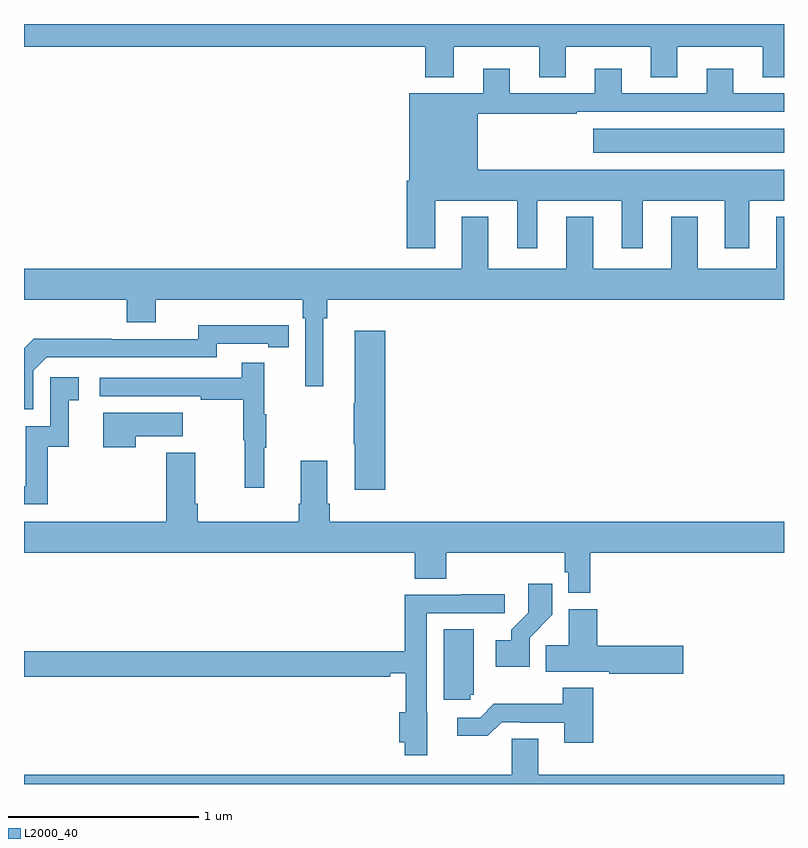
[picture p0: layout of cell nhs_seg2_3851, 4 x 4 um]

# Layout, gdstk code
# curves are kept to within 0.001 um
import gdstk
lib = gdstk.Library(unit=1e-6, precision=1e-09)
def R(c, l, rs):  # rectangles x0, y0, x1, y1
    for r in rs: c.add(gdstk.rectangle(r[:2], r[2:], *l))
def P(c, l, *ps):  # polygons
    for p in ps: c.add(gdstk.Polygon(p, *l))
L2000_40 = (2000, 40)

nhs_seg2_3851 = lib.new_cell('nhs_seg2_3851')
R(nhs_seg2_3851, L2000_40, [(317.997,603.122,319,603.25)])
P(nhs_seg2_3851, L2000_40, [(317.851,603.68),(318.299,603.68),(318.299,603.52),(318.439,603.52),(318.439,603.68),(318.887,603.68),(318.887,603.52),(319,603.52),(319,603.8),(315,603.8),(315,603.68),(317.111,603.68),(317.111,603.521),(317.263,603.521),(317.263,603.68),(317.711,603.68),(317.711,603.52),(317.851,603.52)],
  [(317.164,602.87),(317.597,602.87),(317.597,602.619),(317.701,602.619),(317.701,602.87),(318.146,602.87),(318.146,602.619),(318.256,602.619),(318.256,602.87),(318.689,602.87),(318.689,602.619),(318.817,602.619),(318.817,602.87),(319,602.87),(319,603.034),(317.389,603.034),(317.389,603.327),(317.909,603.327),(317.909,603.339),(319,603.339),(319,603.435),(318.733,603.435),(318.733,603.565),(318.593,603.565),(318.593,603.435),(318.145,603.435),(318.145,603.565),(318.005,603.565),(318.005,603.435),(317.557,603.435),(317.557,603.565),(317.417,603.565),(317.417,603.436),(317.027,603.436),(317.027,602.974),(317.015,602.974),(317.015,602.619),(317.164,602.619)],
  [(316.576,602.252),(316.595,602.252),(316.595,602.348),(319,602.348),(319,602.785),(318.959,602.785),(318.959,602.512),(318.547,602.512),(318.547,602.785),(318.407,602.785),(318.407,602.512),(317.995,602.512),(317.995,602.785),(317.855,602.785),(317.855,602.512),(317.443,602.512),(317.443,602.785),(317.303,602.785),(317.303,602.512),(315,602.512),(315,602.348),(315.542,602.348),(315.542,602.231),(315.694,602.231),(315.694,602.348),(316.466,602.348),(316.466,602.252),(316.479,602.252),(316.479,601.893),(316.576,601.893)],
  [(315.048,601.974),(315.12,602.046),(316.014,602.046),(316.014,602.118),(316.286,602.118),(316.286,602.098),(316.394,602.098),(316.394,602.214),(315.918,602.215),(315.918,602.142),(315.458,602.142),(315.458,602.144),(315.05,602.144),(315,602.094),(315,601.773),(315.048,601.773)],
  [(316.901,602.185),(316.742,602.185),(316.742,601.805),(316.735,601.805),(316.735,601.588),(316.742,601.588),(316.742,601.35),(316.901,601.35)],
  [(316.265,601.571),(316.276,601.571),(316.276,601.745),(316.265,601.745),(316.265,602.017),(316.147,602.017),(316.147,601.938),(315.399,601.938),(315.399,601.842),(315.931,601.842),(315.931,601.822),(316.155,601.822),(316.155,601.608),(316.162,601.608),(316.162,601.359),(316.265,601.359)],
  [(315.125,601.575),(315.236,601.575),(315.236,601.821),(315.289,601.821),(315.289,601.942),(315.138,601.942),(315.138,601.683),(315.009,601.683),(315.009,601.368),(315,601.368),(315,601.272),(315.125,601.272)],
  [(315.587,601.631),(315.835,601.631),(315.835,601.753),(315.416,601.753),(315.416,601.572),(315.587,601.572)],
  [(317.981,601.016),(319,601.016),(319,601.18),(316.61,601.18),(316.61,601.276),(316.597,601.276),(316.597,601.501),(316.457,601.501),(316.457,601.276),(316.445,601.276),(316.445,601.18),(315.914,601.18),(315.914,601.276),(315.901,601.276),(315.901,601.543),(315.749,601.543),(315.749,601.18),(315,601.18),(315,601.016),(317.057,601.016),(317.057,600.88),(317.222,600.88),(317.222,601.016),(317.845,601.016),(317.845,600.915),(317.865,600.915),(317.865,600.806),(317.981,600.806)],
  [(317.661,600.571),(317.78,600.69),(317.78,600.853),(317.655,600.853),(317.655,600.701),(317.564,600.611),(317.564,600.556),(317.484,600.556),(317.484,600.416),(317.661,600.416)],
  [(317.122,600.174),(317.121,600.174),(317.121,600.699),(317.53,600.699),(317.53,600.798),(317.305,600.798),(317.305,600.795),(317.005,600.795),(317.005,600.5),(315,600.5),(315,600.364),(316.928,600.364),(316.928,600.383),(317.009,600.383),(317.009,600.178),(316.976,600.178),(316.976,600.02),(317.005,600.02),(317.005,599.952),(317.122,599.952)],
  [(318.469,600.527),(318.017,600.527),(318.017,600.721),(317.867,600.721),(317.867,600.53),(317.746,600.53),(317.746,600.392),(318.079,600.392),(318.079,600.38),(318.469,600.38)],
  [(317.349,600.27),(317.368,600.27),(317.368,600.614),(317.21,600.614),(317.21,600.243),(317.349,600.243)],
  [(317.996,600.307),(317.836,600.307),(317.836,600.223),(317.473,600.223),(317.4,600.15),(317.28,600.15),(317.28,600.053),(317.441,600.053),(317.514,600.126),(317.614,600.126),(317.614,600.123),(317.843,600.123),(317.843,600.018),(317.996,600.018)],
  [(319,599.848),(317.707,599.848),(317.707,600.038),(317.568,600.038),(317.568,599.848),(315,599.848),(315,599.8),(319,599.8)])

lib.write_gds('nhs_seg2_3851.gds')
